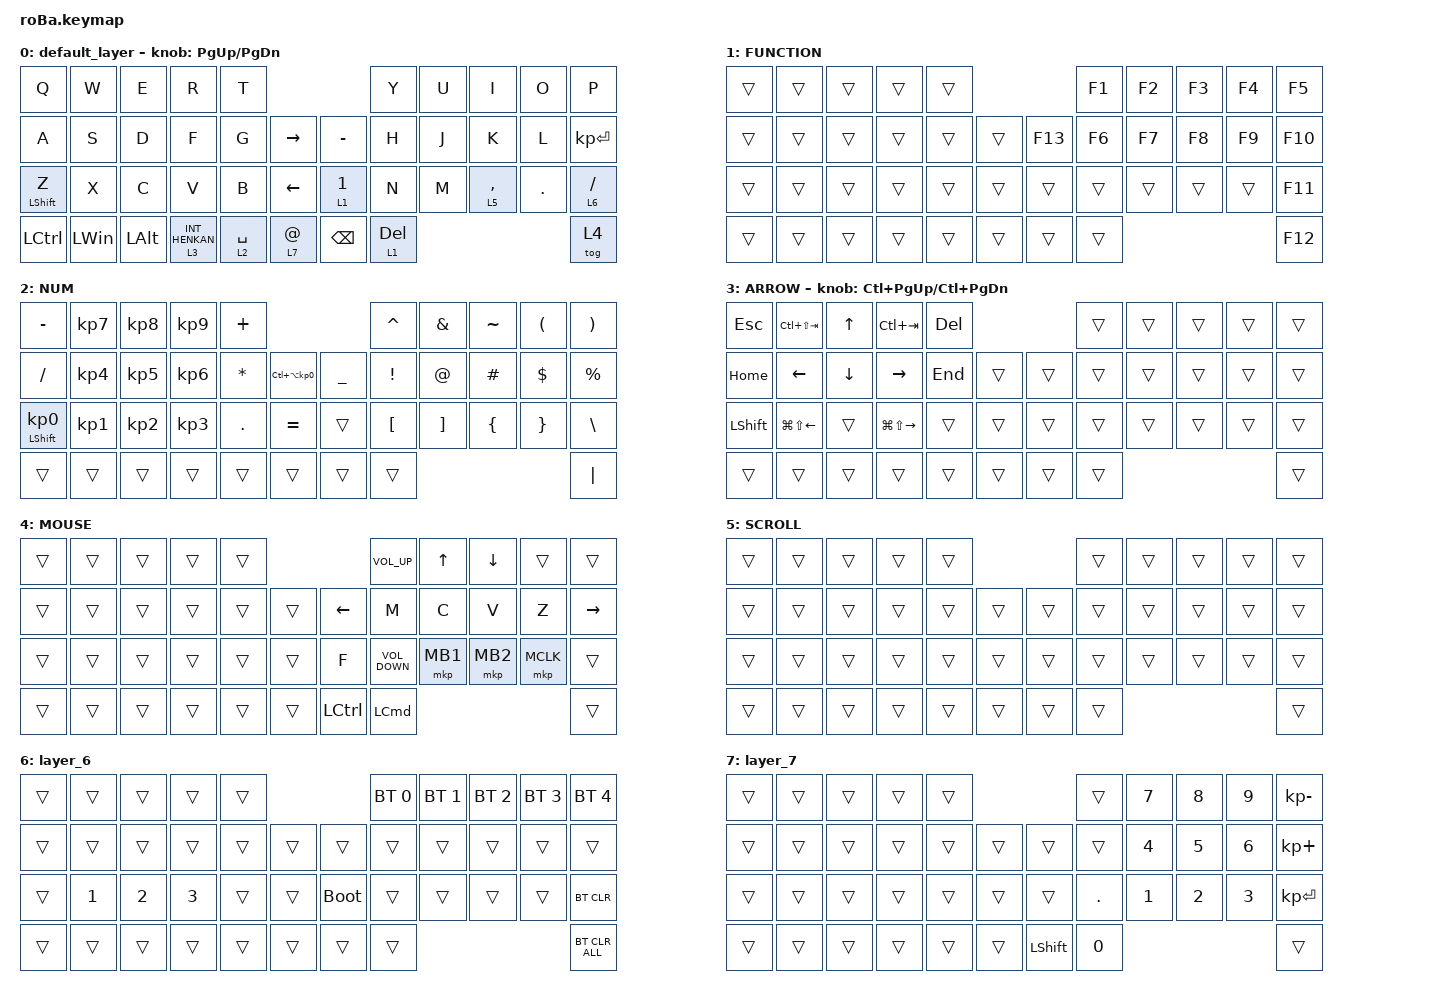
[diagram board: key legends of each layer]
#include <behaviors.dtsi>
#include <dt-bindings/zmk/bt.h>
#include <dt-bindings/zmk/keys.h>
#include <dt-bindings/zmk/pointing.h>

&mt {
    flavor = "balanced";
    quick-tap-ms = <0>;
};

&trackball {
    automouse-layer = <4>;
    scroll-layers = <5>;

    // arrows {
    //     layers = <3>;
    //     bindings =
    //         <&kp RIGHT_ARROW>,
    //         <&kp LEFT_ARROW>,
    //         <&kp UP_ARROW>,
    //         <&kp DOWN_ARROW>;
    //     tick = <10>;
    //     wait-ms = <5>;
    //     tap-ms = <5>;
    // };
};

/ {
    combos {
        compatible = "zmk,combos";

        tab {
            bindings = <&kp TAB>;
            key-positions = <11 12>;
        };

        shift_tab {
            bindings = <&kp LS(TAB)>;
            key-positions = <12 13>;
        };

        muhennkann {
            bindings = <&to_layer_0 LANGUAGE_4>;
            key-positions = <11 10>;
        };

        double_quotation {
            bindings = <&kp LS(RETURN)>;
            key-positions = <20 21>;
        };

        eq {
            bindings = <&kp EQUAL>;
            key-positions = <24 25>;
        };

        esc {
            bindings = <&kp ESC>;
            key-positions = <0 1>;
        };

        shift {
            bindings = <&kp LEFT_SHIFT>;
            key-positions = <23 22>;
        };
    };

    macros {
        to_layer_0: to_layer_0 {
            compatible = "zmk,behavior-macro-one-param";
            #binding-cells = <1>;
            bindings = <&to 0 &macro_param_1to1 &kp MACRO_PLACEHOLDER>;
            label = "TO_LAYER_0";
        };
    };

    behaviors {
        lt_to_layer_0: lt_to_layer_0 {
            compatible = "zmk,behavior-hold-tap";
            label = "LAYER_TAP_TO_0";
            bindings = <&mo>, <&to_layer_0>;

            #binding-cells = <2>;
            tapping-term-ms = <200>;
        };
    };

    keymap {
        compatible = "zmk,keymap";

        default_layer {
            bindings = <
&kp Q             &kp W         &kp E         &kp R                        &kp T                                             &kp Y         &kp U  &kp I        &kp O    &kp P
&kp A             &kp S         &kp D         &kp F                        &kp G        &kp RIGHT_ARROW      &kp MINUS       &kp H         &kp J  &kp K        &kp L    &kp KP_ENTER
&mt LEFT_SHIFT Z  &kp X         &kp C         &kp V                        &kp B        &kp LEFT_ARROW       &lt 1 NUMBER_1  &kp N         &kp M  &lt 5 COMMA  &kp DOT  &lt 6 SLASH
&kp LCTRL         &kp LEFT_WIN  &kp LEFT_ALT  &lt_to_layer_0 3 INT_HENKAN  &lt 2 SPACE  &lt 7 AT_SIGN        &kp BACKSPACE   &lt 1 DELETE                               &tog 4
            >;

            sensor-bindings = <&inc_dec_kp PG_UP PAGE_DOWN>;
        };

        FUNCTION {
            bindings = <
&trans  &trans  &trans  &trans  &trans                       &kp F1  &kp F2  &kp F3  &kp F4  &kp F5
&trans  &trans  &trans  &trans  &trans  &trans      &kp F13  &kp F6  &kp F7  &kp F8  &kp F9  &kp F10
&trans  &trans  &trans  &trans  &trans  &trans      &trans   &trans  &trans  &trans  &trans  &kp F11
&trans  &trans  &trans  &trans  &trans  &trans      &trans   &trans                          &kp F12
            >;
        };

        NUM {
            bindings = <
&kp MINUS                   &kp KP_NUMBER_7  &kp KP_NUMBER_8  &kp KP_NUMBER_9  &kp PLUS                                                   &kp CARET         &kp AMPERSAND      &kp TILDE       &kp LEFT_PARENTHESIS  &kp RIGHT_PARENTHESIS
&kp SLASH                   &kp KP_NUMBER_4  &kp KP_NUMBER_5  &kp KP_NUMBER_6  &kp ASTERISK  &kp LC(LA(KP_NUMBER_0))      &kp UNDERSCORE  &kp EXCLAMATION   &kp AT_SIGN        &kp HASH        &kp DOLLAR            &kp PERCENT
&mt LEFT_SHIFT KP_NUMBER_0  &kp KP_NUMBER_1  &kp KP_NUMBER_2  &kp KP_NUMBER_3  &kp PERIOD    &kp EQUAL                    &trans          &kp LEFT_BRACKET  &kp RIGHT_BRACKET  &kp LEFT_BRACE  &kp RIGHT_BRACE       &kp BACKSLASH
&trans                      &trans           &trans           &trans           &trans        &trans                       &trans          &trans                                                                     &kp PIPE
            >;
        };

        ARROW {
            bindings = <
&kp ESCAPE      &kp LC(LS(TAB))         &kp UP_ARROW    &kp LC(TAB)              &kp DELETE                      &trans  &trans  &trans  &trans  &trans
&kp HOME        &kp LEFT_ARROW          &kp DOWN_ARROW  &kp RIGHT_ARROW          &kp END     &trans      &trans  &trans  &trans  &trans  &trans  &trans
&kp LEFT_SHIFT  &kp LG(LS(LEFT_ARROW))  &trans          &kp LG(LS(RIGHT_ARROW))  &trans      &trans      &trans  &trans  &trans  &trans  &trans  &trans
&trans          &trans                  &trans          &trans                   &trans      &trans      &trans  &trans                          &trans
            >;

            sensor-bindings = <&inc_dec_kp LC(PAGE_UP) LC(PAGE_DOWN)>;
        };

        MOUSE {
            bindings = <
&trans  &trans  &trans  &trans  &trans                                &kp C_VOLUME_UP    &kp UP_ARROW  &kp DOWN_ARROW  &trans     &trans
&trans  &trans  &trans  &trans  &trans  &trans      &kp LEFT_ARROW    &kp M              &kp C         &kp V           &kp Z      &kp RIGHT_ARROW
&trans  &trans  &trans  &trans  &trans  &trans      &kp F             &kp C_VOLUME_DOWN  &mkp MB1      &mkp MB2        &mkp MCLK  &trans
&trans  &trans  &trans  &trans  &trans  &trans      &kp LEFT_CONTROL  &kp LEFT_COMMAND                                            &trans
            >;
        };

        SCROLL {
            bindings = <
&trans  &trans  &trans  &trans  &trans                      &trans  &trans  &trans  &trans  &trans
&trans  &trans  &trans  &trans  &trans  &trans      &trans  &trans  &trans  &trans  &trans  &trans
&trans  &trans  &trans  &trans  &trans  &trans      &trans  &trans  &trans  &trans  &trans  &trans
&trans  &trans  &trans  &trans  &trans  &trans      &trans  &trans                          &trans
            >;
        };

        layer_6 {
            bindings = <
&trans  &trans        &trans        &trans        &trans                           &bt BT_SEL 0  &bt BT_SEL 1  &bt BT_SEL 2  &bt BT_SEL 3  &bt BT_SEL 4
&trans  &trans        &trans        &trans        &trans  &trans      &trans       &trans        &trans        &trans        &trans        &trans
&trans  &kp NUMBER_1  &kp NUMBER_2  &kp NUMBER_3  &trans  &trans      &bootloader  &trans        &trans        &trans        &trans        &bt BT_CLR
&trans  &trans        &trans        &trans        &trans  &trans      &trans       &trans                                                  &bt BT_CLR_ALL
            >;
        };

        layer_7 {
            bindings = <
&trans  &trans  &trans  &trans  &trans                              &trans        &kp NUMBER_7  &kp NUMBER_8  &kp NUMBER_9  &kp KP_MINUS
&trans  &trans  &trans  &trans  &trans  &trans      &trans          &trans        &kp NUMBER_4  &kp NUMBER_5  &kp NUMBER_6  &kp KP_PLUS
&trans  &trans  &trans  &trans  &trans  &trans      &trans          &kp DOT       &kp NUMBER_1  &kp NUMBER_2  &kp NUMBER_3  &kp KP_ENTER
&trans  &trans  &trans  &trans  &trans  &trans      &kp LEFT_SHIFT  &kp NUMBER_0                                            &trans
            >;
        };
    };
};
